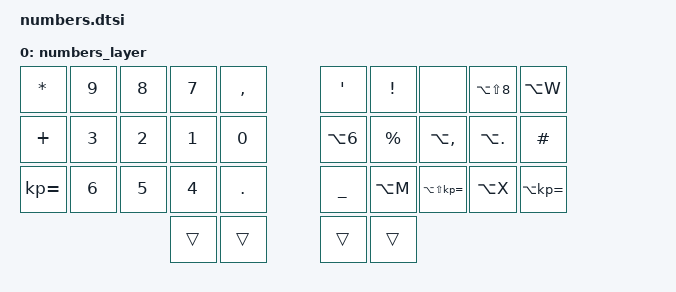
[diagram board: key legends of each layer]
/ {
    keymap {
        compatible = "zmk,keymap";
                numbers_layer {
/*  
    ╭────────────────╮ ╭───────────────╮
    │ *  9  8  7  ,  │ │ '  !  _  °  ∑ │
    │ +  3  2  1  0  │ │ §  %  ≤  ≥  # │
    │ =  6  5  4  .  │ │ _  µ  ±  ≈  ≠ │
    ╰──╮trans  trans │ │ trans  trans╭─╯
       ╰─────────────╯ ╰─────────────╯   */
                    /*  2x tap
    ╭──────────────────╮ ╭───────────────╮
    │ /  _  _  _  _    │ │ _  _  _  _  _ │
    │ -  _  _  _  _    │ │ _  _  _  _  _ │
    │ ^  _  _  _  _    │ │ _  _  _  _  _ │
    ╰────╮trans  trans │ │ trans  trans╭─╯
         ╰─────────────╯ ╰─────────────╯    */

                        bindings = <
//┌────────────┬────────┬────────┬────────┬──────────┐ ┌───────────────┬────────────────┬─────────────────────┬───────────────┬─────────────────┐
   &kp STAR      &kp N9   &kp N8   &kp N7   &kp COMMA   &kp SINGLE_QUOTE  &kp EXCLAMATION  &none                &kp LA(LS(N8))  &kp LA(W)
//├────────────┼────────┼────────┼────────┼──────────┤ ├───────────────┼────────────────┼─────────────────────┼───────────────┼─────────────────┤
   &kp PLUS      &kp N3   &kp N2   &kp N1   &kp N0      &kp LA(6)        &kp PERCENT      &kp LA(COMMA)         &kp LA(DOT)     &kp HASH  
//├────────────┼────────┼────────┼────────┼──────────┤ ├───────────────┼────────────────┼─────────────────────┼───────────────┼─────────────────┤
   &kp KP_EQUAL  &kp N6   &kp N5   &kp N4   &kp DOT     &kp UNDERSCORE   &kp LA(M)        &kp LA(LS(KP_EQUAL))  &kp LA(X)       &kp LA(KP_EQUAL)
//└────────────┴────────┴────────┴────────┴──────────┘ └───────────────┴────────────────┴─────────────────────┴───────────────┴─────────────────┘
                                 &trans   &trans      &trans  &trans
//                             └────────┴──────────┘ └──────┴────────┘                        
                        >;
                };
        };
};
